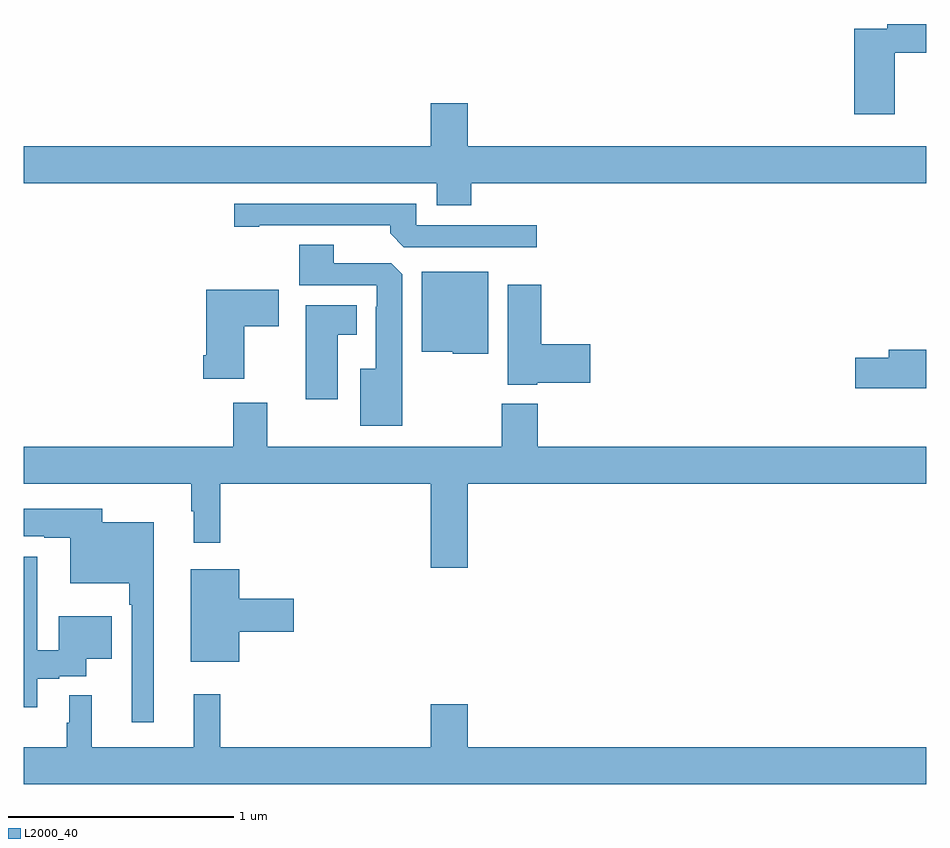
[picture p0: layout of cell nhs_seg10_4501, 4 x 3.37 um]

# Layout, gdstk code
import gdstk
lib = gdstk.Library(unit=1e-6, precision=1e-09)
def P(c, l, *ps):  # polygons
    for p in ps: c.add(gdstk.Polygon(p, *l))
L2000_40 = (2000, 40)

nhs_seg10_4501 = lib.new_cell('nhs_seg10_4501')
P(nhs_seg10_4501, L2000_40, [(370.86,1294.233),(371,1294.233),(371,1294.361),(370.828,1294.361),(370.828,1294.341),(370.682,1294.341),(370.682,1293.96),(370.86,1293.96)],
  [(368.984,1293.656),(371,1293.656),(371,1293.82),(368.968,1293.82),(368.968,1294.009),(368.804,1294.009),(368.804,1293.82),(367,1293.82),(367,1293.656),(368.831,1293.656),(368.831,1293.557),(368.984,1293.557)],
  [(369.274,1293.468),(368.739,1293.468),(368.739,1293.564),(367.932,1293.564),(367.932,1293.463),(368.044,1293.463),(368.044,1293.468),(368.624,1293.468),(368.624,1293.434),(368.685,1293.372),(369.274,1293.372)],
  [(368.677,1293.251),(368.628,1293.3),(368.374,1293.3),(368.374,1293.383),(368.222,1293.383),(368.222,1293.204),(368.565,1293.204),(368.565,1293.107),(368.561,1293.107),(368.561,1292.833),(368.492,1292.833),(368.492,1292.579),(368.677,1292.579)],
  [(369.058,1293.262),(368.765,1293.262),(368.765,1292.909),(368.901,1292.909),(368.901,1292.9),(369.058,1292.9)],
  [(369.276,1292.771),(369.511,1292.771),(369.511,1292.942),(369.293,1292.942),(369.293,1293.205),(369.146,1293.205),(369.146,1292.762),(369.276,1292.762)],
  [(367.978,1293.022),(368.131,1293.022),(368.131,1293.184),(367.808,1293.184),(367.808,1292.893),(367.796,1292.893),(367.796,1292.789),(367.978,1292.789)],
  [(368.392,1292.984),(368.476,1292.984),(368.476,1293.115),(368.249,1293.115),(368.249,1292.697),(368.392,1292.697)],
  [(371,1292.918),(370.835,1292.918),(370.835,1292.882),(370.686,1292.882),(370.686,1292.747),(371,1292.747)],
  [(368.968,1292.324),(371,1292.324),(371,1292.488),(369.278,1292.488),(369.278,1292.677),(369.118,1292.677),(369.118,1292.488),(368.08,1292.488),(368.08,1292.683),(367.928,1292.683),(367.928,1292.488),(367,1292.488),(367,1292.324),(367.743,1292.324),(367.743,1292.201),(367.754,1292.201),(367.754,1292.061),(367.871,1292.061),(367.871,1292.324),(368.804,1292.324),(368.804,1291.95),(368.968,1291.95)],
  [(367.576,1292.152),(367.348,1292.152),(367.348,1292.212),(367,1292.212),(367,1292.09),(367.091,1292.09),(367.091,1292.083),(367.205,1292.083),(367.205,1291.883),(367.467,1291.883),(367.467,1291.787),(367.479,1291.787),(367.479,1291.266),(367.576,1291.266)],
  [(367.06,1291.458),(367.158,1291.458),(367.158,1291.47),(367.276,1291.47),(367.276,1291.547),(367.39,1291.547),(367.39,1291.735),(367.154,1291.735),(367.154,1291.586),(367.06,1291.586),(367.06,1291.999),(367,1291.999),(367,1291.332),(367.06,1291.332)],
  [(367.954,1291.667),(368.197,1291.667),(368.197,1291.814),(367.954,1291.814),(367.954,1291.945),(367.739,1291.945),(367.739,1291.535),(367.954,1291.535)],
  [(371,1291.156),(368.968,1291.156),(368.968,1291.345),(368.804,1291.345),(368.804,1291.156),(367.871,1291.156),(367.871,1291.39),(367.754,1291.39),(367.754,1291.156),(367.301,1291.156),(367.301,1291.385),(367.202,1291.385),(367.202,1291.263),(367.191,1291.263),(367.191,1291.156),(367,1291.156),(367,1290.992),(371,1290.992)])

lib.write_gds('nhs_seg10_4501.gds')
